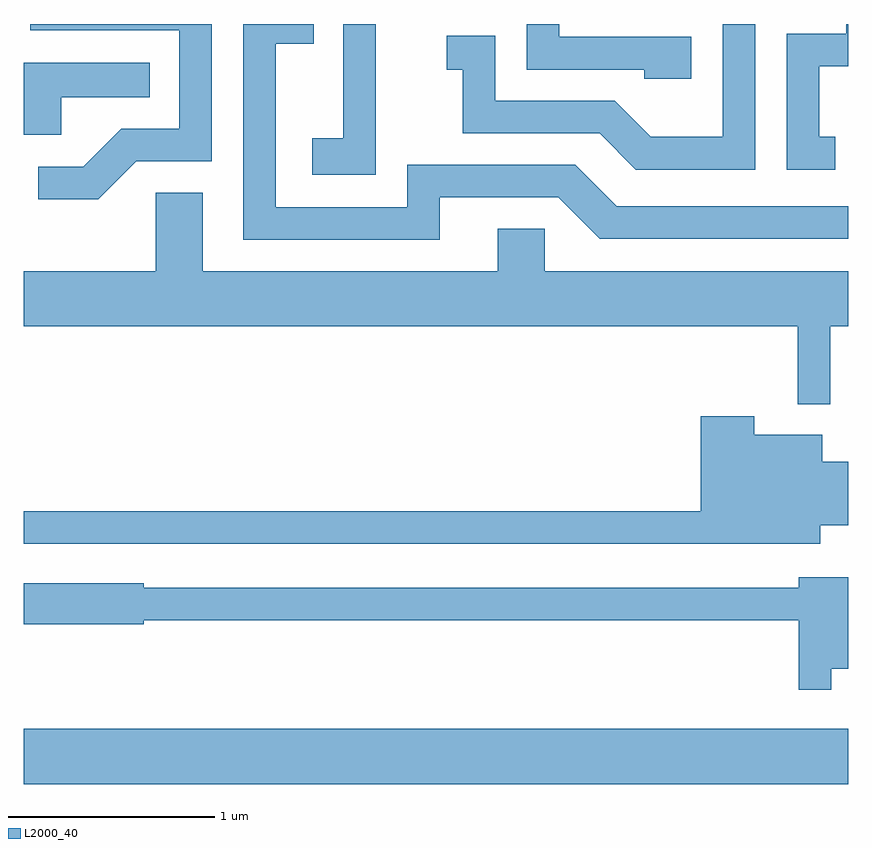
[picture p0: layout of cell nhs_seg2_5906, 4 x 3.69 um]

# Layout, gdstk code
import gdstk
lib = gdstk.Library(unit=1e-6, precision=1e-09)
def R(c, l, rs):  # rectangles x0, y0, x1, y1
    for r in rs: c.add(gdstk.rectangle(r[:2], r[2:], *l))
def P(c, l, *ps):  # polygons
    for p in ps: c.add(gdstk.Polygon(p, *l))
L2000_40 = (2000, 40)

nhs_seg2_5906 = lib.new_cell('nhs_seg2_5906')
R(nhs_seg2_5906, L2000_40, [(359.611,1026.116,363.611,1026.384)])
P(nhs_seg2_5906, L2000_40, [(360.157,1029.136),(360.524,1029.136),(360.524,1029.802),(359.643,1029.802),(359.643,1029.771),(360.366,1029.771),(360.366,1029.294),(360.084,1029.294),(359.899,1029.109),(359.683,1029.109),(359.683,1028.951),(359.972,1028.951)],
  [(363.548,1029.254),(363.469,1029.254),(363.469,1029.596),(363.611,1029.596),(363.611,1029.802),(363.601,1029.802),(363.601,1029.754),(363.311,1029.754),(363.311,1029.096),(363.548,1029.096)],
  [(363.159,1029.802),(363.001,1029.802),(363.001,1029.254),(362.652,1029.254),(362.477,1029.429),(361.899,1029.429),(361.899,1029.744),(361.663,1029.744),(361.663,1029.581),(361.741,1029.581),(361.741,1029.271),(362.404,1029.271),(362.579,1029.096),(363.159,1029.096)],
  [(362.849,1029.739),(362.209,1029.739),(362.209,1029.802),(362.051,1029.802),(362.051,1029.581),(362.621,1029.581),(362.621,1029.536),(362.849,1029.536)],
  [(361.629,1028.961),(362.204,1028.961),(362.404,1028.761),(363.611,1028.761),(363.611,1028.919),(362.487,1028.919),(362.287,1029.119),(361.471,1029.119),(361.471,1028.914),(360.834,1028.914),(360.834,1029.706),(361.018,1029.706),(361.018,1029.802),(360.676,1029.802),(360.676,1028.756),(361.629,1028.756)],
  [(361.319,1029.802),(361.161,1029.802),(361.161,1029.249),(361.011,1029.249),(361.011,1029.071),(361.319,1029.071)],
  [(359.794,1029.446),(360.223,1029.446),(360.223,1029.614),(359.611,1029.614),(359.611,1029.266),(359.794,1029.266)],
  [(360.251,1028.984),(360.251,1028.604),(359.611,1028.604),(359.611,1028.336),(363.366,1028.336),(363.366,1027.958),(363.524,1027.958),(363.524,1028.336),(363.611,1028.336),(363.611,1028.604),(362.139,1028.604),(362.139,1028.809),(361.911,1028.809),(361.911,1028.604),(360.479,1028.604),(360.479,1028.984)],
  [(363.474,1027.371),(363.611,1027.371),(363.611,1027.679),(363.484,1027.679),(363.484,1027.809),(363.154,1027.809),(363.154,1027.899),(362.896,1027.899),(362.896,1027.439),(359.611,1027.439),(359.611,1027.281),(363.474,1027.281)],
  [(363.529,1026.676),(363.611,1026.676),(363.611,1027.119),(363.371,1027.119),(363.371,1027.069),(360.194,1027.069),(360.194,1027.089),(359.611,1027.089),(359.611,1026.891),(360.194,1026.891),(360.194,1026.911),(363.371,1026.911),(363.371,1026.573),(363.529,1026.573)])

lib.write_gds('nhs_seg2_5906.gds')
